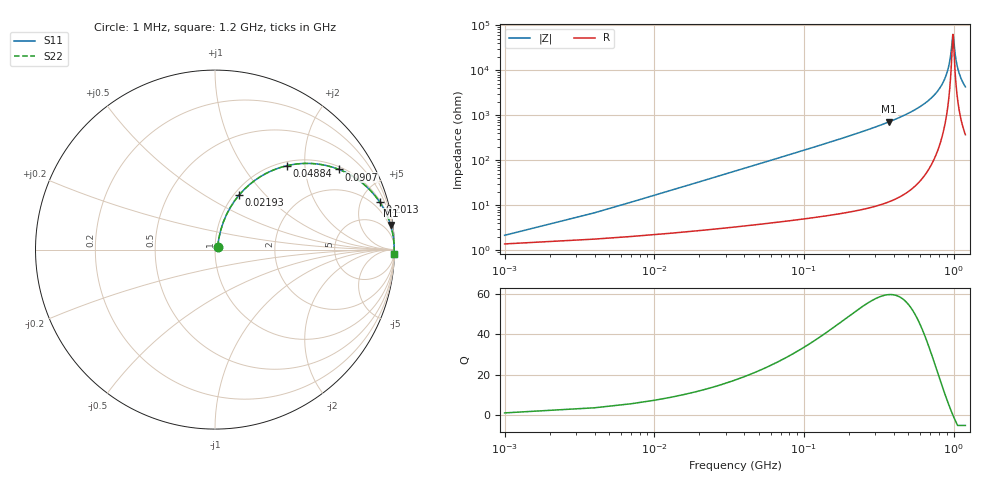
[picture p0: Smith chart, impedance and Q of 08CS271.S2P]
! Coilcraft 0805CS-271 Chip Inductor
! 11 June 2002
# MHZ S MA R 50
!Freq  MagS11  AngS11  MagS21  AngS21  MagS12  AngS12  MagS22  AngS22
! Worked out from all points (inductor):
!   403 points, 1 MHz to 1.2 GHz, reference 50 ohm
!   read as one part in series: L = 263 nH near 6.98 MHz
!   highest Q = 59.5 at 371.8 MHz (marker M1), where L = 306 nH
!   self-resonance near 990.7 MHz
!   S11 on the Smith chart (normalised r, x): 1 MHz: 1.03, +0.03; 21.93 MHz: 1.06, +0.73; 48.84 MHz: 1.07, +1.62; 90.7 MHz: 1.10, +3.02; 201.3 MHz: 1.14, +6.94; 1.2 GHz: 8, -85
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1  0.02129 49.0  0.9862 -0.9  0.9862 -0.9  0.02129 49.0
9.97  0.1606 73.1  0.9657 -9.2  0.9657 -9.2  0.1606 73.1
15.95  0.2501 70.0  0.9444 -14.4  0.9444 -14.4  0.2501 70.0
21.93  0.3335 66.1  0.9172 -19.4  0.9172 -19.4  0.3335 66.1
33.89  0.4779 58.2  0.851 -28.5  0.851 -28.5  0.4779 58.2
48.84  0.6156 49.4  0.7601 -37.9  0.7601 -37.9  0.6156 49.4
90.7  0.8222 32.9  0.5437 -55.3  0.5437 -55.3  0.8222 32.9
135.55  0.9077 23.4  0.3975 -65.1  0.3975 -65.1  0.9077 23.4
201.33  0.9557 16.0  0.2754 -72.9  0.2754 -72.9  0.9557 16.0
371.76  0.9881 7.9  0.1382 -81.1  0.1382 -81.1  0.9881 7.9
401.66  0.9901 7.2  0.1247 -81.9  0.1247 -81.9  0.9901 7.2
601.99  0.9966 3.6  0.06325 -85.1  0.06325 -85.1  0.9966 3.6
802.32  0.9983 1.5  0.02602 -85.5  0.02602 -85.5  0.9983 1.5
909.96  0.9985 0.6  0.01057 -81.3  0.01057 -81.3  0.9985 0.6
951.82  0.9984 0.3  0.005213 -72.4  0.005213 -72.4  0.9984 0.3
987.7  0.9984 0.0  0.001671 -16.3  0.001671 -16.3  0.9984 0.0
993.68  0.9984 -0.0  0.001635 9.4  0.001635 9.4  0.9984 -0.0
1002.65  0.9984 -0.1  0.002123 39.8  0.002123 39.8  0.9984 -0.1
1032.55  0.9983 -0.3  0.00522 70.9  0.00522 70.9  0.9983 -0.3
1068.43  0.9982 -0.5  0.009275 78.6  0.009275 78.6  0.9982 -0.5
1125.24  0.998 -0.9  0.01556 82.2  0.01556 82.2  0.998 -0.9
1200  0.9977 -1.3  0.02346 83.7  0.02346 83.7  0.9977 -1.3
